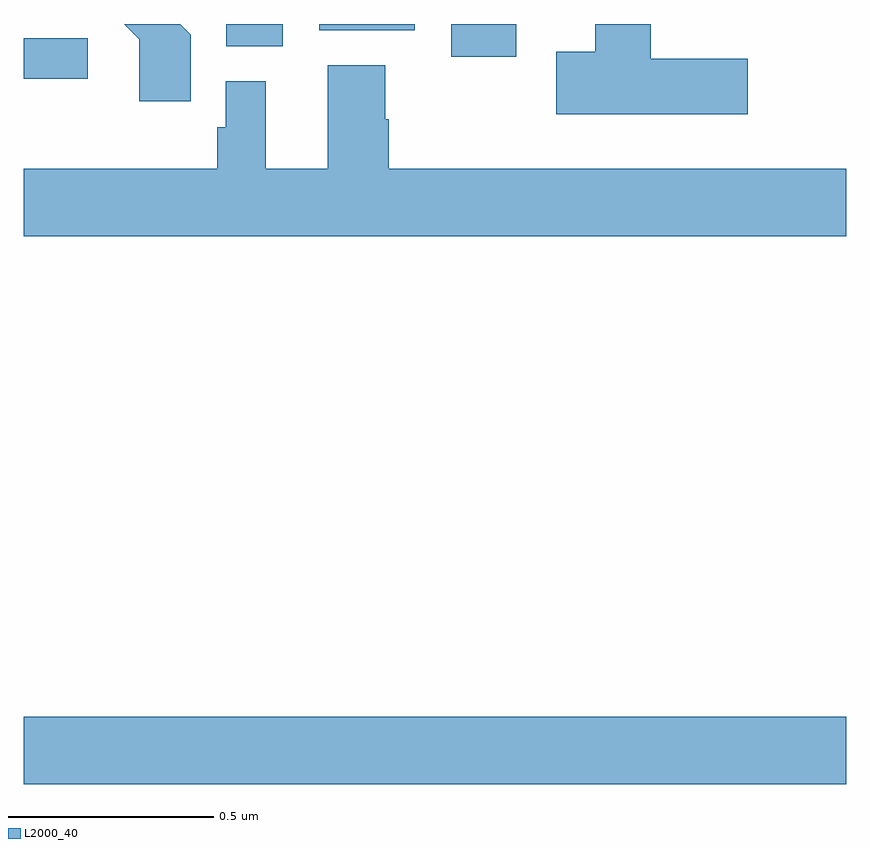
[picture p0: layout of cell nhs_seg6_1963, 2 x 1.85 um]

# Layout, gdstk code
import gdstk
lib = gdstk.Library(unit=1e-6, precision=1e-09)
def R(c, l, rs):  # rectangles x0, y0, x1, y1
    for r in rs: c.add(gdstk.rectangle(r[:2], r[2:], *l))
def P(c, l, *ps):  # polygons
    for p in ps: c.add(gdstk.Polygon(p, *l))
L2000_40 = (2000, 40)

nhs_seg6_1963 = lib.new_cell('nhs_seg6_1963')
R(nhs_seg6_1963, L2000_40, [(136,964.652,138,964.816), (136,966.367,136.156,966.465), (137.039,966.42,137.197,966.5), (136.493,966.446,136.63,966.5), (136.718,966.485,136.951,966.5)])
P(nhs_seg6_1963, L2000_40, [(137.761,966.416),(137.525,966.416),(137.525,966.5),(137.39,966.5),(137.39,966.433),(137.295,966.433),(137.295,966.281),(137.761,966.281)],
  [(136.406,966.474),(136.38,966.5),(136.244,966.5),(136.281,966.463),(136.281,966.312),(136.406,966.312)],
  [(138,966.148),(136.887,966.148),(136.887,966.269),(136.879,966.269),(136.879,966.4),(136.739,966.4),(136.739,966.148),(136.588,966.148),(136.588,966.361),(136.491,966.361),(136.491,966.249),(136.471,966.249),(136.471,966.148),(136,966.148),(136,965.984),(138,965.984)])

lib.write_gds('nhs_seg6_1963.gds')
